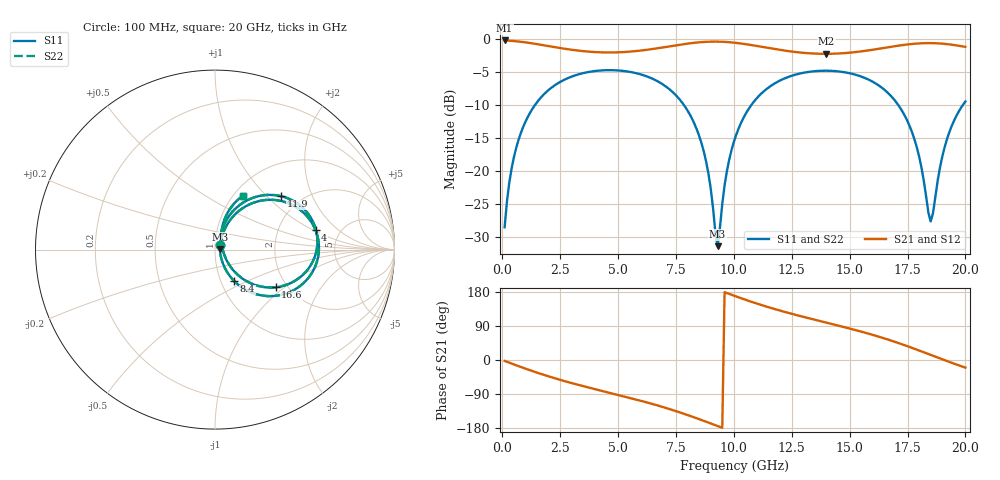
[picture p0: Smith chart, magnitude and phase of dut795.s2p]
! Touchstone file exported from HFSS 2026.1.0
!  File:  C:/ffzhzh/LocalFiles/Ansys_Project_Files/temp_train_TSV_RDL_795_1783261693_5512.aedt
!  Generated:  10:44:10 PM Jul  5, 2026
!  Design:  TSV_RDL
!  Project:  temp_train_TSV_RDL_795_1783261693_5512
! Variables:
!  h_bsmrdl = 5.36um
!  h_ox = 20um
!  h_rdl = 5um
!  h_sub = 97.91um
!  h_tmrdl = 3.04um
!  h_tsv = 97.91um
!  h_via = 3um
!  l_bsmrdl = 787.34um
!  l_sub = 6179.56um
!  l_tmrdl = 818.76um
!  m_sub = 200um
!  pitch = 59.86um
!  r_tsv = 7.93um
!  s_tmrdl = 10um
!  w_bsmrdl = 28.31um
!  w_sub = 500um
!  w_tmrdl = 19.19um
!  x_tsv_center1 = 828.355um
!  x_tsv_center2 = 1644.005um
!  x_tsv_center3 = 2481.955um
!  x_tsv_center4 = 3297.605um
!  x_tsv_center5 = 4135.555um
!  x_tsv_center6 = 4951.205um
# GHz S MA R 50.000000
! Terminal data exported
! Port[1] = TM_RDL1_1_T1
! Port[2] = TM_RDL5_1_T1
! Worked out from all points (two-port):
!   200 points, 100 MHz to 20 GHz, reference 50 ohm
!   highest |S21| = -0.24 dB at 100 MHz (marker M1); lowest = -2.3 dB at 14 GHz (marker M2)
!   |S21| within 3 dB of the highest: start of sweep to end of sweep
!   lowest |S11| = -31.4 dB at 9.3 GHz (marker M3), VSWR 1.06, Z = 52.7 + j0.414 ohm
!   |S11| at or under -10 dB: start of sweep to 1.417 GHz; 7.838 GHz to 10.76 GHz (2.924 GHz wide, 31.4 % of centre); 17.1 GHz to 19.89 GHz (2.799 GHz wide, 15.1 % of centre)
!   |S22| runs from -31.5 to -4.7 dB; largest |S21 - S12| = 1.5e-14
!   S11 on the Smith chart (normalised r, x): 100 MHz: 1.06, +0.05; 4 GHz: 3.28, +1.06; 8.4 GHz: 1.16, -0.42; 11.9 GHz: 1.60, +1.22; 16.6 GHz: 1.74, -0.87; 20 GHz: 1.10, +0.74
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0.1  0.03734 41.7  0.9728 -2.4  0.9728 -2.4  0.03734 41.7
! Gamma 0 0 0 0
! Port Impedance 50 0 50 0
0.5  0.1265 64.6  0.9625 -11.7  0.9625 -11.7  0.1265 64.6
1.1  0.2559 58.1  0.9359 -25.0  0.9359 -25.0  0.2559 58.1
2.1  0.4236 40.9  0.8757 -45.1  0.8757 -45.1  0.4236 40.9
3.5  0.5506 18.4  0.8072 -69.1  0.8072 -69.1  0.5506 18.4
4  0.5705 11.0  0.7945 -76.9  0.7945 -76.9  0.5705 11.0
6.8  0.4673 -31.4  0.8539 -121.6  0.8539 -121.6  0.4673 -31.4
8.4  0.2059 -58.5  0.9382 -153.8  0.9382 -153.8  0.2059 -58.6
8.9  0.09593 -60.8  0.9515 -165.1  0.9515 -165.1  0.09588 -61.0
9.3  0.02686 8.4  0.9533 -174.3  0.9533 -174.3  0.02648 8.4
9.7  0.09943 69.6  0.9467 176.6  0.9467 176.6  0.09928 69.8
10.1  0.187 68.3  0.9326 167.7  0.9326 167.7  0.1869 68.4
10.8  0.3231 57.3  0.8954 152.8  0.8954 152.8  0.323 57.4
11.9  0.4742 38.8  0.8299 132.0  0.8299 132.0  0.4742 38.9
13.4  0.5669 16.1  0.7751 107.7  0.7751 107.7  0.5669 16.2
14  0.5738 7.5  0.7705 98.6  0.7705 98.6  0.5738 7.6
16.6  0.3976 -31.9  0.8601 55.1  0.8601 55.1  0.3977 -31.8
16.7  0.3826 -33.5  0.8658 53.1  0.8658 53.1  0.3826 -33.4
17.8  0.1732 -48.4  0.9188 29.7  0.9188 29.7  0.1734 -48.2
18.5  0.04132 11.0  0.929 13.5  0.929 13.5  0.04214 11.0
19.1  0.1503 72.8  0.9166 -0.4  0.9166 -0.4  0.1505 72.5
20  0.3355 62.8  0.87 -20.1  0.87 -20.1  0.3355 62.7
